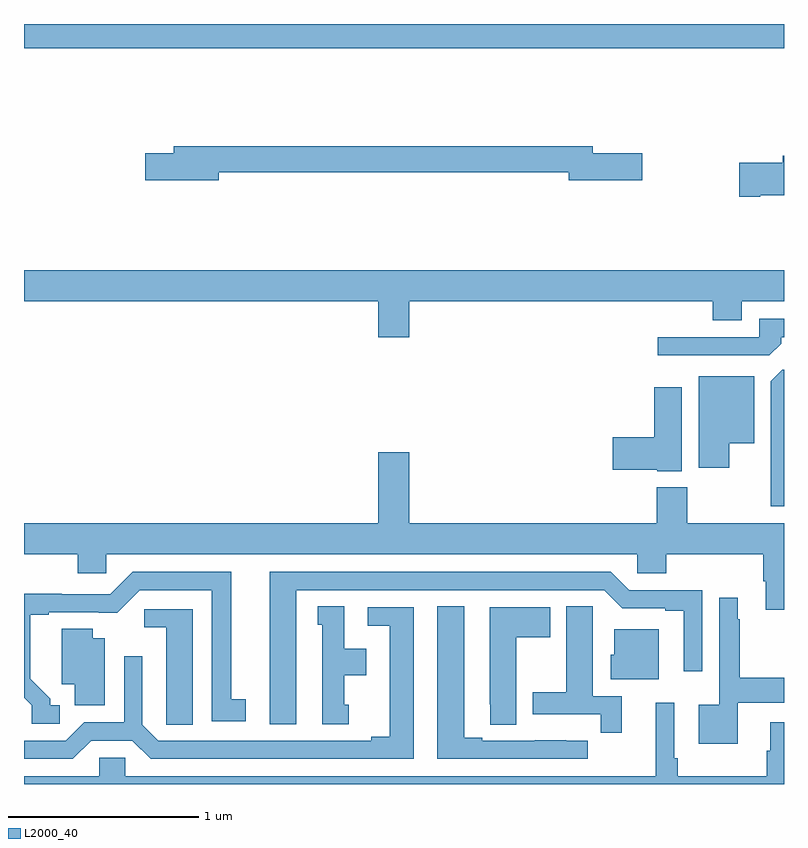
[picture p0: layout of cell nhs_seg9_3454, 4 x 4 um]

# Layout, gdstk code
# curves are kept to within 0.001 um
import gdstk
lib = gdstk.Library(unit=1e-6, precision=1e-09)
def R(c, l, rs):  # rectangles x0, y0, x1, y1
    for r in rs: c.add(gdstk.rectangle(r[:2], r[2:], *l))
def P(c, l, *ps):  # polygons
    for p in ps: c.add(gdstk.Polygon(p, *l))
L2000_40 = (2000, 40)

nhs_seg9_3454 = lib.new_cell('nhs_seg9_3454')
R(nhs_seg9_3454, L2000_40, [(307,1244.372,311,1244.5)])
P(nhs_seg9_3454, L2000_40, [(308.026,1243.72),(309.866,1243.72),(309.866,1243.678),(310.255,1243.678),(310.255,1243.82),(309.994,1243.82),(309.994,1243.856),(307.787,1243.856),(307.787,1243.82),(307.638,1243.82),(307.638,1243.678),(308.026,1243.678)],
  [(310.876,1243.598),(311,1243.598),(311,1243.807),(310.994,1243.807),(310.994,1243.769),(310.764,1243.769),(310.764,1243.591),(310.876,1243.591)],
  [(309.028,1243.04),(310.625,1243.04),(310.625,1242.941),(310.777,1242.941),(310.777,1243.04),(311,1243.04),(311,1243.204),(307,1243.204),(307,1243.04),(308.864,1243.04),(308.864,1242.852),(309.028,1242.852)],
  [(310.985,1242.818),(310.985,1242.852),(311,1242.852),(311,1242.948),(310.869,1242.948),(310.869,1242.852),(310.335,1242.852),(310.335,1242.756),(310.923,1242.756)],
  [(311,1242.681),(310.991,1242.681),(310.931,1242.621),(310.931,1241.963),(311,1241.963)],
  [(310.711,1242.293),(310.843,1242.293),(310.843,1242.646),(310.55,1242.646),(310.55,1242.165),(310.711,1242.165)],
  [(310.462,1242.589),(310.316,1242.589),(310.316,1242.326),(310.098,1242.326),(310.098,1242.155),(310.332,1242.155),(310.332,1242.146),(310.462,1242.146)],
  [(311,1241.872),(310.491,1241.872),(310.491,1242.061),(310.331,1242.061),(310.331,1241.872),(309.028,1241.872),(309.028,1242.247),(308.864,1242.247),(308.864,1241.872),(307,1241.872),(307,1241.708),(307.283,1241.708),(307.283,1241.61),(307.434,1241.61),(307.434,1241.708),(310.227,1241.708),(310.227,1241.61),(310.379,1241.61),(310.379,1241.708),(310.892,1241.708),(310.892,1241.566),(310.904,1241.566),(310.904,1241.418),(311,1241.418)],
  [(308.434,1241.52),(310.053,1241.52),(310.149,1241.424),(310.376,1241.424),(310.376,1241.412),(310.472,1241.412),(310.472,1241.094),(310.569,1241.094),(310.569,1241.52),(310.185,1241.52),(310.089,1241.616),(308.294,1241.616),(308.294,1240.815),(308.434,1240.815)],
  [(307.187,1240.914),(307.138,1240.914),(307.138,1240.949),(307.033,1241.054),(307.033,1241.391),(307.129,1241.391),(307.129,1241.403),(307.49,1241.402),(307.608,1241.52),(307.988,1241.52),(307.988,1240.83),(308.167,1240.83),(308.167,1240.946),(308.092,1240.946),(308.092,1241.616),(307.572,1241.616),(307.455,1241.499),(307.199,1241.499),(307.199,1241.501),(307,1241.501),(307,1240.955),(307.041,1240.914),(307.041,1240.818),(307.187,1240.818)],
  [(310.756,1240.928),(311,1240.928),(311,1241.058),(310.768,1241.058),(310.768,1241.366),(310.756,1241.366),(310.756,1241.479),(310.659,1241.479),(310.659,1240.918),(310.55,1240.918),(310.55,1240.712),(310.756,1240.712)],
  [(308.71,1240.917),(308.686,1240.917),(308.686,1241.072),(308.8,1241.072),(308.8,1241.212),(308.686,1241.212),(308.686,1241.435),(308.546,1241.435),(308.546,1241.337),(308.57,1241.337),(308.57,1240.815),(308.71,1240.815)],
  [(310.145,1240.962),(309.994,1240.962),(309.994,1241.324),(309.993,1241.324),(309.993,1241.435),(309.854,1241.435),(309.854,1240.983),(309.677,1240.983),(309.677,1240.866),(310.036,1240.866),(310.036,1240.77),(310.145,1240.77)],
  [(309.967,1240.728),(309.854,1240.728),(309.854,1240.729),(309.688,1240.729),(309.688,1240.728),(309.412,1240.728),(309.412,1240.743),(309.316,1240.743),(309.316,1241.435),(309.176,1241.435),(309.176,1240.632),(309.967,1240.632)],
  [(309.592,1241.272),(309.769,1241.272),(309.769,1241.431),(309.452,1241.431),(309.452,1240.921),(309.453,1240.921),(309.453,1240.813),(309.592,1240.813)],
  [(307.353,1240.728),(307.571,1240.728),(307.667,1240.632),(309.052,1240.632),(309.052,1241.43),(308.808,1241.43),(308.808,1241.334),(308.924,1241.334),(308.924,1240.748),(308.828,1240.748),(308.828,1240.728),(307.707,1240.728),(307.623,1240.812),(307.623,1241.173),(307.527,1241.173),(307.527,1240.824),(307.317,1240.824),(307.221,1240.728),(307,1240.728),(307,1240.632),(307.257,1240.632)],
  [(307.888,1241.421),(307.632,1241.421),(307.632,1241.324),(307.748,1241.324),(307.748,1240.921),(307.749,1240.921),(307.749,1240.813),(307.888,1240.813)],
  [(307.426,1241.266),(307.363,1241.266),(307.363,1241.318),(307.199,1241.318),(307.199,1241.024),(307.268,1241.024),(307.268,1240.914),(307.426,1240.914)],
  [(310.342,1241.314),(310.106,1241.314),(310.106,1241.181),(310.088,1241.181),(310.088,1241.051),(310.342,1241.051)],
  [(311,1240.825),(310.928,1240.825),(310.928,1240.674),(310.909,1240.674),(310.909,1240.54),(310.442,1240.54),(310.442,1240.636),(310.422,1240.636),(310.422,1240.927),(310.325,1240.927),(310.325,1240.54),(307.533,1240.54),(307.533,1240.638),(307.395,1240.638),(307.395,1240.54),(307,1240.54),(307,1240.5),(311,1240.5)])

lib.write_gds('nhs_seg9_3454.gds')
